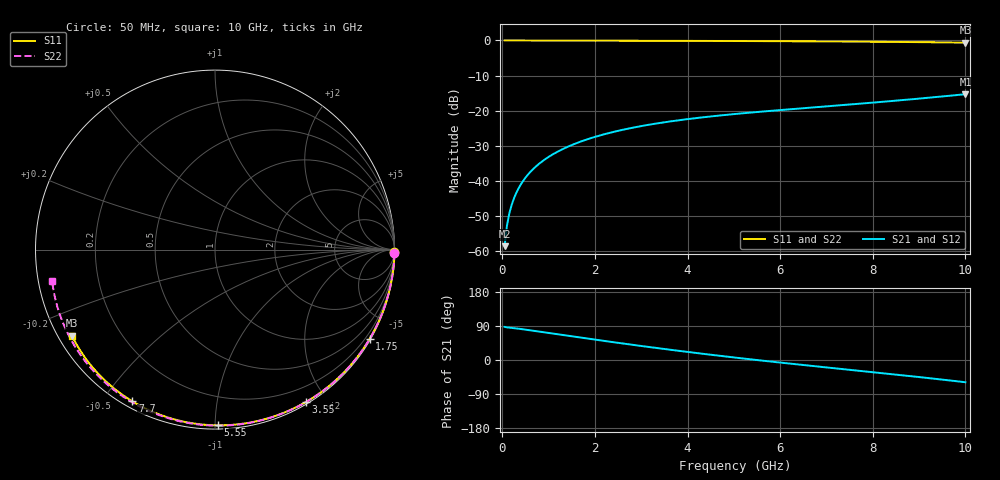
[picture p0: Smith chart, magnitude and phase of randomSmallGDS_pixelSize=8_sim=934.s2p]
! freq	dB(S11)	phase(S11)	dB(S12)	phase(S12)
!  dB(S21)	phase(S21)	dB(S22)	phase(S22)
!S-par simulation data
#  GHz  S  DB  R 50
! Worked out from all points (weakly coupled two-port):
!   200 points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, 50 MHz to 10 GHz, reference 50 ohm
!   highest |S21| = -15.34 dB at 10 GHz (marker M1); lowest = -58.7 dB at 50 MHz (marker M2)
!   lowest |S11| = -0.6 dB at 10 GHz (marker M3), VSWR 27.77, Z = 1.94 - j13.9 ohm
!   |S11| at or under -10 dB: nowhere
!   |S22| runs from -0.7 to 0.0 dB; largest |S21 - S12| = 0
!   S11 on the Smith chart (normalised r, x): 50 MHz: open; 1.75 GHz: 0.04, -3.73; 3.55 GHz: 0.02, -1.76; 5.55 GHz: 0.02, -1.02; 7.7 GHz: 0.03, -0.59; 10 GHz: 0.04, -0.28
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0.05  -0.00 -0.9  -58.68 87.4  -58.68 87.4  -0.00 -1.0
0.1  -0.00 -1.7  -52.86 86.2  -52.86 86.2  -0.00 -1.9
0.15  -0.00 -2.6  -49.45 85.5  -49.45 85.5  -0.00 -2.9
0.2  -0.00 -3.5  -47.01 84.8  -47.01 84.8  -0.00 -3.9
0.25  -0.00 -4.4  -45.10 84.1  -45.10 84.1  -0.00 -4.9
0.35  -0.00 -6.1  -42.22 82.6  -42.22 82.6  -0.01 -6.8
0.5  -0.01 -8.7  -39.15 80.1  -39.15 80.1  -0.01 -9.7
0.7  -0.01 -12.2  -36.26 76.7  -36.26 76.7  -0.02 -13.6
1  -0.02 -17.3  -33.22 71.4  -33.22 71.4  -0.03 -19.3
1.35  -0.03 -23.3  -30.71 65.1  -30.71 65.1  -0.04 -25.9
1.75  -0.04 -30.0  -28.58 58.1  -28.58 58.1  -0.05 -33.4
2.6  -0.07 -44.1  -25.48 43.6  -25.48 43.6  -0.07 -49.0
3.4  -0.09 -56.9  -23.54 30.6  -23.54 30.6  -0.10 -63.2
3.55  -0.10 -59.3  -23.24 28.2  -23.24 28.2  -0.11 -65.8
4.3  -0.13 -70.8  -21.97 16.8  -21.97 16.8  -0.14 -78.6
5.05  -0.16 -81.9  -20.95 6.0  -20.95 6.0  -0.17 -91.0
5.55  -0.18 -89.1  -20.36 -0.8  -20.36 -0.8  -0.20 -99.0
6.7  -0.25 -105.1  -19.12 -15.8  -19.12 -15.8  -0.27 -117.0
7.7  -0.33 -118.6  -18.07 -28.3  -18.07 -28.3  -0.36 -132.4
8.35  -0.40 -127.2  -17.35 -36.5  -17.35 -36.5  -0.44 -142.4
9.2  -0.50 -138.4  -16.35 -47.6  -16.35 -47.6  -0.55 -155.9
10  -0.63 -148.9  -15.34 -58.7  -15.34 -58.7  -0.68 -169.1
